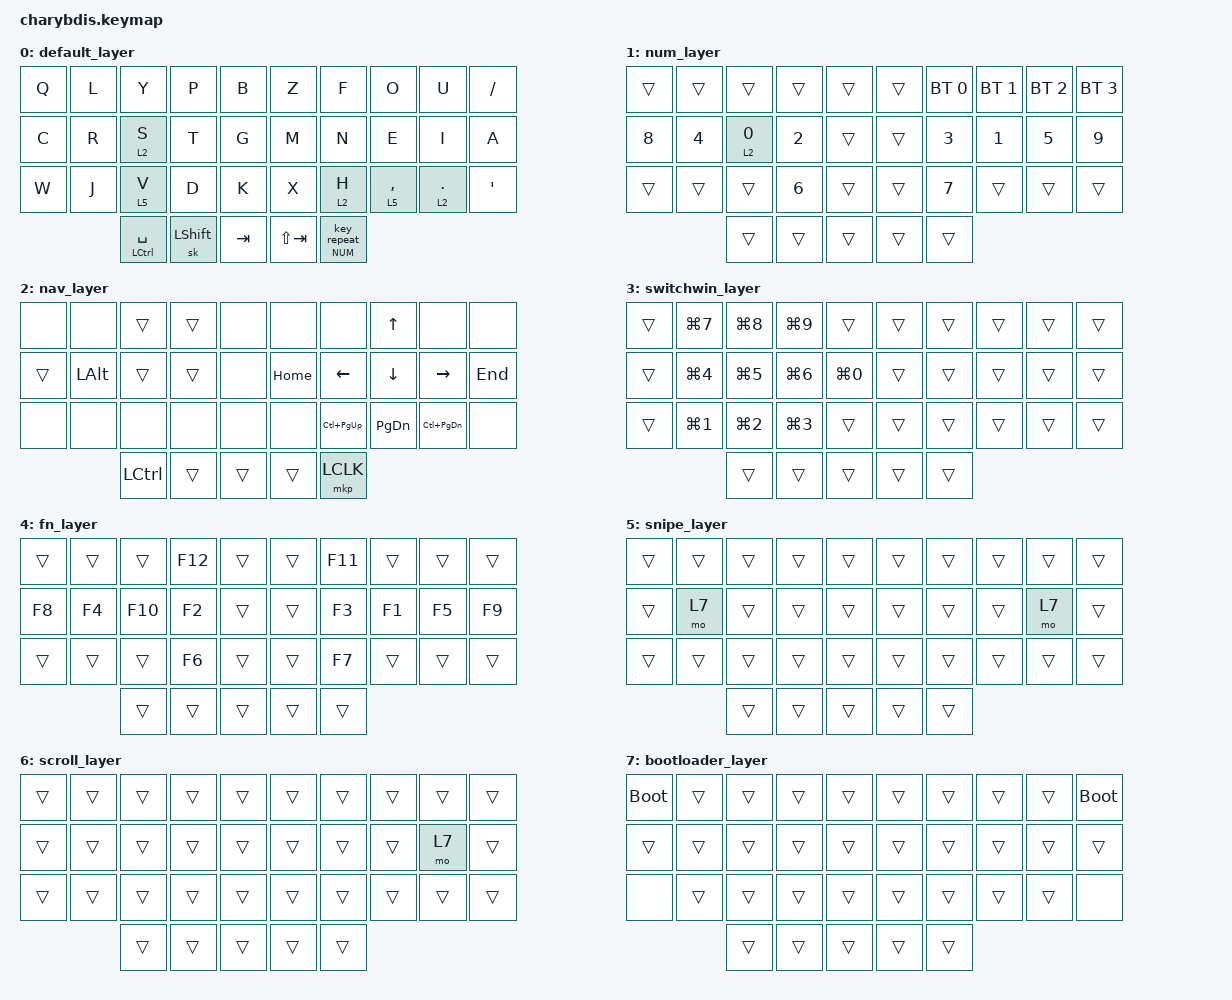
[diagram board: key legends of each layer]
/*
 * eXsoR's Charybdis Nano Keymap
 * with trackball.
 *
*/
// Includes

#include <behaviors.dtsi>
#include <dt-bindings/zmk/bt.h>
#include <dt-bindings/zmk/keys.h>
#include <dt-bindings/zmk/pointing.h>

#define DEF 0
#define NUM 1
#define NAV 2
#define SWT 3
#define FN 4
#define SNI 5
#define SCR 6
#define BOOT 7

// Layer-Tap and Mod-Tap Config Preferences

&sk { quick-release; };

&lt {
    require-prior-idle-ms = <125>;
    tapping-term-ms = <230>;
    quick-tap-ms = <150>;
    hold-trigger-on-release;
    flavor = "balanced";
};

&mt {
    flavor = "balanced";
    require-prior-idle-ms = <150>;
    tapping-term-ms = <230>;
    quick-tap-ms = <150>;
    hold-trigger-on-release;
};

/* 
 * Combos, Behaviors, and Keymap
 *╭──────┬──────┬──────┬──────┬──────╮  ╭──────┬──────┬──────┬──────┬──────╮
 *   00     01     02     03     04        05     06     07     08     09 
 *├──────┼──────┼──────┼──────┼──────┤  ├──────┼──────┼──────┼──────┼──────┤
 *   10     11     12     13     14        15     16     17     18     19
 *├──────┼──────┼──────┼──────┼──────┤  ├──────┼──────┼──────┼──────┼──────┤
 *   20     21     22     23     24        25     26     27     28     29 
 *╰──────┴──────┴──────┼──────┼──────┤  ├──────┼──────┼──────┴──────┴──────╯
 *                 30     31     32        33     34
 *              ╰──────┴──────┴──────╯  ╰──────┴──────╯
*/

/ {
    behaviors {
        /* * Smart Shift:
         * Tap for Sticky Shift, Double Tap for Caps Word
         */
        /* * Magic Thumb:
         * Tap: Repeat (or Smart Shift if pressed after a key)
         * Hold: NUM Layer
         */
        /* Optional: urob's Smart Repeat */

        back_home: back_home {
            compatible = "zmk,behavior-hold-tap";
            bindings = <&althome>, <&altleft>;

            #binding-cells = <2>;
            flavor = "balanced";
            tapping-term-ms = <200>;
        };

        keyrepeat_layernum: keyrepeat_layernum {
            compatible = "zmk,behavior-hold-tap";
            bindings = <&mo>, <&key_repeat>;

            #binding-cells = <2>;
            require-prior-idle-ms = <125>;
            flavor = "balanced";
            tapping-term-ms = <200>;
        };
    };

    combos {
        compatible = "zmk,combos";

        rparenth {
            bindings = <&mt RIGHT_BRACKET RIGHT_PARENTHESIS>;
            key-positions = <18 34>;
            timeout-ms = <30>;
        };

        exclai {
            bindings = <&kp EXCL>;
            key-positions = <6 16>;
            timeout-ms = <30>;
        };

        lparenth {
            bindings = <&mt LEFT_BRACKET LEFT_PARENTHESIS>;
            key-positions = <11 31>;
            timeout-ms = <30>;
        };

        copy {
            bindings = <&kp LC(C)>;
            key-positions = <12 23>;
            timeout-ms = <30>;
            require-prior-idle-ms = <180>;
        };

        paste {
            bindings = <&mt LCTRL LC(V)>;
            key-positions = <12 3>;
            timeout-ms = <30>;
            require-prior-idle-ms = <180>;
        };

        semicolon {
            bindings = <&kp SEMICOLON>;
            key-positions = <19 34>;
            timeout-ms = <30>;
        };

        resetble {
            bindings = <&bt BT_CLR_ALL>;
            key-positions = <2 3 7 8 1 6 9 0>;
        };

        minus {
            bindings = <&kp MINUS>;
            key-positions = <26 28>;
            timeout-ms = <30>;
        };

        underscore {
            bindings = <&kp UNDER>;
            key-positions = <26 29>;
            timeout-ms = <30>;
        };

        stickyalt {
            bindings = <&sk LEFT_ALT>;
            key-positions = <11 12 13>;
        };

        colonn {
            bindings = <&kp COLON>;
            key-positions = <16 34>;
            timeout-ms = <30>;
        };

        equal {
            bindings = <&kp EQUAL>;
            key-positions = <34 26>;
            timeout-ms = <30>;
        };

        value {
            bindings = <&value>;
            key-positions = <8 18>;
            timeout-ms = <30>;
        };

        statementcombo {
            bindings = <&statement>;
            key-positions = <8 34>;
            timeout-ms = <30>;
        };

        enterr {
            bindings = <&kp ENTER>;
            key-positions = <26 27>;
            timeout-ms = <30>;
        };

        backspaced {
            bindings = <&kp BACKSPACE>;
            key-positions = <17 27>;
            timeout-ms = <25>;
        };

        plus {
            bindings = <&kp PLUS>;
            key-positions = <15 25>;
            timeout-ms = <30>;
        };

        insert {
            bindings = <&kp INSERT>;
            key-positions = <1 11>;
            timeout-ms = <30>;
        };

        redo {
            bindings = <&kp LC(Y)>;
            key-positions = <2 1>;
            timeout-ms = <30>;
        };

        undo {
            bindings = <&kp LC(Z)>;
            key-positions = <3 2>;
            timeout-ms = <30>;
        };

        calc_rel {
            bindings = <&mt LC(R) LC(D)>;
            key-positions = <2 11>;
            timeout-ms = <30>;
            require-prior-idle-ms = <180>;
        };

        focus {
            bindings = <&kp LC(E)>;
            key-positions = <2 13>;
            timeout-ms = <30>;
        };

        at {
            bindings = <&mt HASH AT>;
            key-positions = <27 18>;
            timeout-ms = <30>;
        };

        window {
            bindings = <&sk LEFT_GUI>;
            key-positions = <21 22 23>;
        };

        types {
            bindings = <&altzero>;
            key-positions = <2 12>;
            timeout-ms = <30>;
        };

        printscreen {
            bindings = <&kp LG(LS(S))>;
            key-positions = <6 7 16 17>;
        };

        grave {
            bindings = <&kp GRAVE>;
            key-positions = <5 15>;
            timeout-ms = <30>;
        };

        question {
            bindings = <&kp QUESTION>;
            key-positions = <17 28>;
            timeout-ms = <30>;
        };

        ctrlbspace {
            bindings = <&kp LC(BACKSPACE)>;
            key-positions = <16 26>;
            timeout-ms = <25>;
        };

        altlefthome {
            bindings = <&back_home 0 0>;
            key-positions = <13 23>;
            timeout-ms = <30>;
        };

        doublequote {
            bindings = <&kp DOUBLE_QUOTES>;
            key-positions = <28 27>;
            timeout-ms = <30>;
        };

        backslash {
            bindings = <&kp BACKSLASH>;
            key-positions = <8 9>;
            timeout-ms = <30>;
        };

        selectall {
            bindings = <&kp LC(A)>;
            key-positions = <26 27 28>;
        };

        newmacron {
            bindings = <&new_macro>;
            key-positions = <17 18 28 27>;
        };

        sloganize {
            bindings = <&slogan>;
            key-positions = <12 13 23 22>;
        };

        academy {
            bindings = <&repand>;
            key-positions = <11 12 22 21>;
        };

        cut {
            bindings = <&kp LC(X)>;
            key-positions = <13 10>;
            timeout-ms = <30>;
        };

        rightclickr {
            bindings = <&mkp RCLK>;
            key-positions = <12 13>;
            timeout-ms = <45>;
            require-prior-idle-ms = <200>;
        };

        delete {
            bindings = <&kp DELETE>;
            key-positions = <14 24>;
            timeout-ms = <30>;
        };

        switchwinright {
            bindings = <&switchwin>;
            key-positions = <16 17>;
            require-prior-idle-ms = <500>;
            timeout-ms = <25>;
            slow-release;
        };

        stickyfunlayer {
            bindings = <&sl 4>;
            key-positions = <2 7>;
            timeout-ms = <30>;
        };

        ctrlf4 {
            bindings = <&kp LC(F4)>;
            key-positions = <2 3 1>;
        };

        backcomb {
            bindings = <&mkp MB4>;
            key-positions = <34 27>;
            timeout-ms = <30>;
        };

        forwardcomb {
            bindings = <&mkp MB5>;
            key-positions = <28 34>;
            timeout-ms = <30>;
        };

        leptclick {
            bindings = <&mkp LCLK>;
            key-positions = <11 12>;
            slow-release;
            timeout-ms = <25>;
            require-prior-idle-ms = <100>;
        };

        tobase_esc {
            bindings = <&to_base_escape>;
            key-positions = <17 18>;
            timeout-ms = <25>;
            require-prior-idle-ms = <500>;
        };

        curlyleft {
            bindings = <&kp LS(LEFT_BRACKET)>;
            key-positions = <11 12 31>;
        };

        curlyright {
            bindings = <&kp LS(RIGHT_BRACKET)>;
            key-positions = <17 18 34>;
        };

        clearformat {
            bindings = <&formatctrlspace>;
            key-positions = <11 23>;
            timeout-ms = <30>;
        };

        controltabright {
            bindings = <&kp LC(TAB)>;
            key-positions = <4 14>;
            timeout-ms = <30>;
            require-prior-idle-ms = <500>;
        };

        contextmernu {
            bindings = <&kp K_CONTEXT_MENU>;
            key-positions = <13 11>;
            timeout-ms = <30>;
        };

        pipes {
            bindings = <&kp PIPE>;
            key-positions = <9 19>;
            timeout-ms = <30>;
        };

        controltableft {
            bindings = <&kp LC(LS(TAB))>;
            key-positions = <3 13>;
            timeout-ms = <30>;
            require-prior-idle-ms = <500>;
        };

        star {
            bindings = <&kp STAR>;
            key-positions = <29 19>;
        };

        lessthan {
            bindings = <&kp LESS_THAN>;
            key-positions = <24 13>;
        };

        morethan {
            bindings = <&kp GREATER_THAN>;
            key-positions = <25 16>;
        };
    };

    macros {
        switchwin: switchwin {
            compatible = "zmk,behavior-macro";
            #binding-cells = <0>;
            bindings =
                <&macro_press>,
                <&mo 3 &kp LGUI>,
                <&macro_pause_for_release>,
                <&macro_release>,
                <&mo 3 &kp LEFT_WIN>;
        };

        info: info {
            compatible = "zmk,behavior-macro";
            #binding-cells = <0>;
            bindings = <&kp I &kp N &kp F &kp O &kp LPAR &kp SQT &kp FSLH &kp FSLH &kp SQT &kp RPAR &kp LEFT>;
        };

        statement: statement {
            compatible = "zmk,behavior-macro";
            #binding-cells = <0>;
            bindings = <&kp RET &kp LEFT_BRACE &kp RET &kp RBRC &kp UP_ARROW &kp ENTER>;
        };

        value: value {
            compatible = "zmk,behavior-macro";
            #binding-cells = <0>;
            bindings = <&kp LS(V) &kp LS(A) &kp LS(L) &kp LS(U) &kp LS(E) &kp LPAR &kp O &kp B &kp J &kp E &kp C &kp T>;
            wait-ms = <50>;
        };

        slogan: slogan {
            compatible = "zmk,behavior-macro";
            #binding-cells = <0>;
            bindings = <&kp LS(T) &kp R &kp A &kp C &kp K &kp B &kp A &kp L &kp L &kp LS(G) &kp L &kp O &kp V &kp E &kp N3 &kp N5 &kp LS(E) &kp N &kp D &kp LS(G) &kp A &kp M &kp E>;
        };

        repand: repand {
            compatible = "zmk,behavior-macro";
            #binding-cells = <0>;
            bindings = <&kp LS(S) &kp Y &kp N &kp C &kp H &kp R &kp O &kp N &kp I &kp Z &kp E &kp U &kp P &kp G &kp R &kp A &kp D &kp E &kp A &kp B &kp I &kp L &kp I &kp T &kp Y &kp DLLR &kp PRCNT &kp CARET &kp PLUS>;
        };

        altone: altone {
            compatible = "zmk,behavior-macro";
            #binding-cells = <0>;
            bindings = <&sk LEFT_ALT &kp NUMBER_1>;
            wait-ms = <50>;
        };

        altzero: altzero {
            compatible = "zmk,behavior-macro";
            #binding-cells = <0>;
            bindings = <&sk LEFT_ALT &kp NUMBER_0>;
            wait-ms = <50>;
        };

        althome: althome {
            compatible = "zmk,behavior-macro";
            #binding-cells = <0>;
            bindings = <&sk LEFT_ALT &kp HOME>;
        };

        altleft: altleft {
            compatible = "zmk,behavior-macro";
            #binding-cells = <0>;
            bindings = <&sk LEFT_ALT &kp LEFT>;
        };

        formatctrlspace: formatctrlspace {
            compatible = "zmk,behavior-macro";
            #binding-cells = <0>;
            bindings = <&sk LCTRL &kp SPACE>;
        };

        alt_wait_tab: alt_wait_tab {
            compatible = "zmk,behavior-macro";
            #binding-cells = <0>;
            bindings = <&sk LEFT_ALT &kp TAB>;
            wait-ms = <50>;
        };

        to_base_escape: to_base_escape {
            compatible = "zmk,behavior-macro";
            #binding-cells = <0>;
            bindings = <&to 0 &kp ESCAPE>;
        };

        new_macro: new_macro {
            compatible = "zmk,behavior-macro";
            #binding-cells = <0>;
            bindings = <&kp N4 &kp LS(V) &kp LS(M) &kp D &kp A &kp LS(X) &kp LS(Q) &kp LS(V) &kp N2 &kp LS(Z) &kp LS(J) &kp U &kp LS(G) &kp LS(Q) &kp K &kp LS(W) &kp N &kp LS(G) &kp H &kp LS(L) &kp LS(T) &kp N4 &kp T &kp Z &kp LS(T) &kp LS(Y) &kp LS(C) &kp LS(X) &kp L &kp LS(X) &kp I &kp LS(H) &kp G &kp LS(X) &kp W &kp E &kp X &kp LS(I) &kp N3 &kp N9 &kp N7 &kp LS(T) &kp Z &kp N4 &kp R &kp N1 &kp G &kp B &kp LS(L) &kp LS(I) &kp W &kp N &kp LS(J) &kp LS(Q) &kp LS(Q) &kp LS(J) &kp N9 &kp N9 &kp LS(C) &kp LS(C) &kp LS(A) &kp LS(C) &kp LS(A) &kp LS(A) &kp LS(A) &kp LS(A) &kp LS(A) &kp LS(I) &kp LS(A) &kp LS(Y) &kp N &kp LS(K) &kp LS(A) &kp LS(A) &kp LS(A) &kp LS(S) &kp LS(A) &kp LS(Z) &kp LS(D) &kp LS(O) &kp N2 &kp H &kp G &kp H>;
        };
    };

    keymap {
        compatible = "zmk,keymap";

        default_layer {
            bindings = <
  &kp Q  &kp L  &kp Y            &kp P           &kp B      &kp Z        &kp F                      &kp O        &kp U         &kp SLASH
  &kp C  &kp R  &lt 2 S          &kp T           &kp G      &kp M        &kp N                      &kp E        &kp I         &kp A
  &kp W  &kp J  &lt 5 V          &kp D           &kp K      &kp X        &lt 2 H                    &lt 5 COMMA  &lt 2 PERIOD  &kp APOS
                &mt LCTRL SPACE  &sk LEFT_SHIFT  &kp TAB    &kp LS(TAB)  &keyrepeat_layernum NUM 0
            >;
        };

        num_layer {
            bindings = <
  &trans  &trans        &trans    &trans        &trans    &trans  &bt BT_SEL 0  &bt BT_SEL 1  &bt BT_SEL 2  &bt BT_SEL 3
  &kp N8  &kp NUMBER_4  &lt 2 N0  &kp NUMBER_2  &trans    &trans  &kp NUMBER_3  &kp NUMBER_1  &kp N5        &kp N9
  &trans  &trans        &trans    &kp NUMBER_6  &trans    &trans  &kp N7        &trans        &trans        &trans
                        &trans    &trans        &trans    &trans  &trans
            >;
        };

        nav_layer {
            bindings = <
  &none   &none         &trans     &trans  &none     &none     &none            &kp UP_ARROW   &none              &none
  &trans  &kp LEFT_ALT  &trans     &trans  &none     &kp HOME  &kp LEFT_ARROW   &kp DOWN       &kp RIGHT          &kp END
  &none   &none         &none      &none   &none     &none     &kp LC(PAGE_UP)  &kp PAGE_DOWN  &kp LC(PAGE_DOWN)  &none
                        &kp LCTRL  &trans  &trans    &trans    &mkp LCLK
            >;
        };

        switchwin_layer {
            bindings = <
  &trans  &kp LG(N7)        &kp LG(N8)        &kp LG(N9)        &trans        &trans  &trans  &trans  &trans  &trans
  &trans  &kp LG(NUMBER_4)  &kp LG(N5)        &kp LG(NUMBER_6)  &kp LG(N0)    &trans  &trans  &trans  &trans  &trans
  &trans  &kp LG(NUMBER_1)  &kp LG(NUMBER_2)  &kp LG(NUMBER_3)  &trans        &trans  &trans  &trans  &trans  &trans
                            &trans            &trans            &trans        &trans  &trans
            >;
        };

        fn_layer {
            bindings = <
  &trans  &trans  &trans   &kp F12  &trans    &trans  &kp F11  &trans  &trans  &trans
  &kp F8  &kp F4  &kp F10  &kp F2   &trans    &trans  &kp F3   &kp F1  &kp F5  &kp F9
  &trans  &trans  &trans   &kp F6   &trans    &trans  &kp F7   &trans  &trans  &trans
                  &trans   &trans   &trans    &trans  &trans
            >;
        };

        snipe_layer {
            bindings = <
  &trans  &trans  &trans  &trans  &trans    &trans  &trans  &trans  &trans  &trans
  &trans  &mo 7   &trans  &trans  &trans    &trans  &trans  &trans  &mo 7   &trans
  &trans  &trans  &trans  &trans  &trans    &trans  &trans  &trans  &trans  &trans
                  &trans  &trans  &trans    &trans  &trans
            >;
        };

        scroll_layer {
            bindings = <
  &trans  &trans  &trans  &trans  &trans    &trans  &trans  &trans  &trans  &trans
  &trans  &trans  &trans  &trans  &trans    &trans  &trans  &trans  &mo 7   &trans
  &trans  &trans  &trans  &trans  &trans    &trans  &trans  &trans  &trans  &trans
                  &trans  &trans  &trans    &trans  &trans
            >;
        };

        bootloader_layer {
            bindings = <
  &bootloader  &trans  &trans  &trans  &trans    &trans  &trans  &trans  &trans  &bootloader
  &trans       &trans  &trans  &trans  &trans    &trans  &trans  &trans  &trans  &trans
  &none        &trans  &trans  &trans  &trans    &trans  &trans  &trans  &trans  &none
                       &trans  &trans  &trans    &trans  &trans
            >;
        };
    };
};
